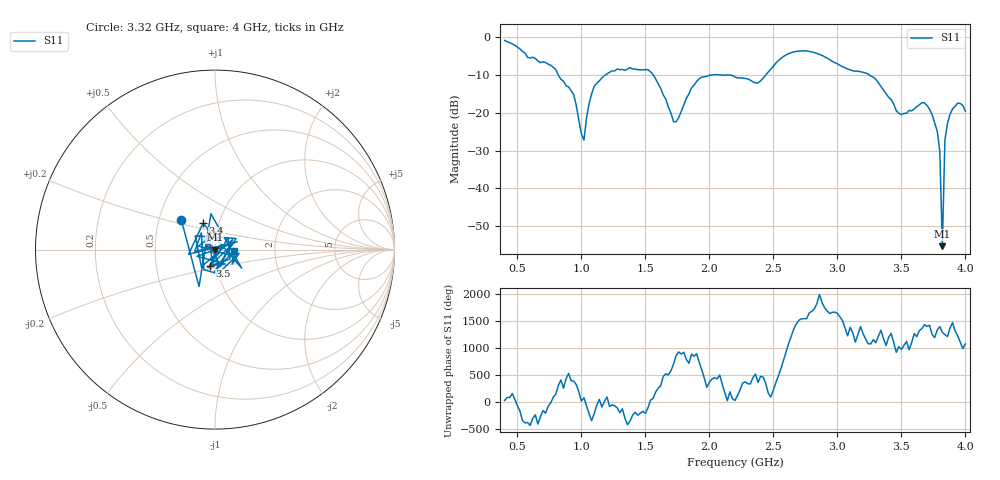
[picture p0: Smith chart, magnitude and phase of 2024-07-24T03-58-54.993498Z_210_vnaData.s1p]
!Created with skrf (http://scikit-rf.org).
# Hz S RI R 50.0
!freq ReS11 ImS11
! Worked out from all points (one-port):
!   181 points, 400 MHz to 4 GHz, reference 50 ohm
!   lowest |S11| = -55.4 dB at 3.82 GHz (marker M1), VSWR 1.00, Z = 49.9 - j0.0881 ohm
!   |S11| at or under -10 dB: 819.5 MHz to 1.185 GHz (365.2 MHz wide, 36.4 % of centre); 1.562 GHz to 2.014 GHz (451.5 MHz wide, 25.2 % of centre); 3.251 GHz to end of sweep (the widest 3 of 5)
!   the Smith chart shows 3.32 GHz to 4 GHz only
!   S11 on the Smith chart (normalised r, x): 3.32 GHz: 0.65, +0.23; 3.4 GHz: 0.84, +0.25; 3.5 GHz: 0.93, -0.17; 4 GHz: 1.23, -0.02
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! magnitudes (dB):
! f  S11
! 400 MHz  -0.8
! 760 MHz  -7.4
! 860 MHz  -11.6
! 940 MHz  -15.2
! 1.02 GHz  -27.3
! 1.06 GHz  -17.6
! 1.1 GHz  -13.0
! 1.3 GHz  -8.5
! 1.54 GHz  -9.1
! 1.72 GHz  -22.4
! 1.76 GHz  -21.3
! 1.92 GHz  -11.0
! 2.2 GHz  -10.5
! 2.38 GHz  -12.1
! 2.66 GHz  -3.8
! 3.1 GHz  -8.6
! 3.32 GHz  -12.0
! 3.4 GHz  -15.9
! 3.5 GHz  -20.5
! 3.56 GHz  -19.4
! 3.68 GHz  -17.3
! 3.78 GHz  -24.9
! 3.8 GHz  -30.2
! 3.82 GHz  -55.4
! 3.84 GHz  -27.2
! 3.86 GHz  -22.9
! 3.94 GHz  -17.4
! 4 GHz  -19.6
